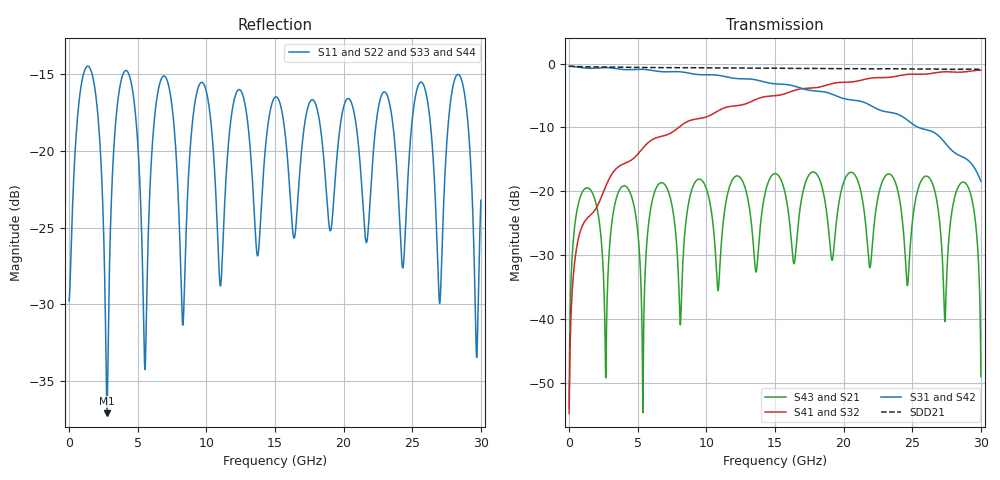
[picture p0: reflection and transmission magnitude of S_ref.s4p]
!diffpair-meanders S_ref (straight pair, reference for the serpentine experiment), mesh fine
!ports 1 P_near 2 N_near 3 P_far 4 N_far; openEMS FDTD, lumped 50 ohm ports
# Hz S RI R 50.0
! Port[1] = P_near
! Port[2] = N_near
! Port[3] = P_far
! Port[4] = N_far
!freq ReS11 ImS11 ReS12 ImS12 ReS13 ImS13
! ReS14 ImS14
! ReS21 ImS21 ReS22 ImS22 ReS23 ImS23
! ReS24 ImS24
! ReS31 ImS31 ReS32 ImS32 ReS33 ImS33
! ReS34 ImS34
! ReS41 ImS41 ReS42 ImS42 ReS43 ImS43
! ReS44 ImS44
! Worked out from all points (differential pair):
!   3000 points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, 10 MHz to 30 GHz, reference 50 ohm
!   strongest paths, dB at 10 MHz, 7.51 GHz, 15.01 GHz, 22.51 GHz, 30 GHz:
!     S31: -0.4, -1.3, -3.2, -7.2, -18.4
!     S42: -0.4, -1.3, -3.2, -7.3, -18.7
!     S41: -54.8, -10.8, -5.0, -2.2, -1.0
!     S32: -54.8, -10.8, -5.0, -2.2, -1.0
!     S43: -54.0, -22.3, -17.2, -20.9, -49.1
!     S21: -54.0, -22.3, -17.2, -20.9, -49.1
!   taken as a pair (ports 1,2 in; 3,4 out), SDD21 dB: -0.4, -0.6, -0.7, -0.8, -0.9
!   lowest |S11| = -37.1 dB at 2.77 GHz (marker M1), VSWR 1.03, Z = 51.4 + j0.141 ohm
!   |S11| at or under -10 dB: start of sweep to end of sweep
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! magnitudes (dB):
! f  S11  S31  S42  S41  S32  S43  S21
! 10 MHz  -29.8  -0.4  -0.4  -54.8  -54.8  -54.0  -54.0
! 1.05 GHz  -15.0  -0.7  -0.7  -25.1  -25.1  -19.9  -19.9
! 2.77 GHz  -37.1  -0.6  -0.6  -18.8  -18.8  -37.7  -37.7
! 3.93 GHz  -15.0  -0.9  -0.9  -15.8  -15.8  -19.2  -19.2
! 5.38 GHz  -28.5  -0.9  -0.9  -13.2  -13.2  -54.7  -54.7
! 26.04 GHz  -16.4  -10.4  -10.5  -1.6  -1.6  -17.6  -17.6
! 30 GHz  -23.2  -18.4  -18.7  -1.0  -1.0  -49.1  -49.1
